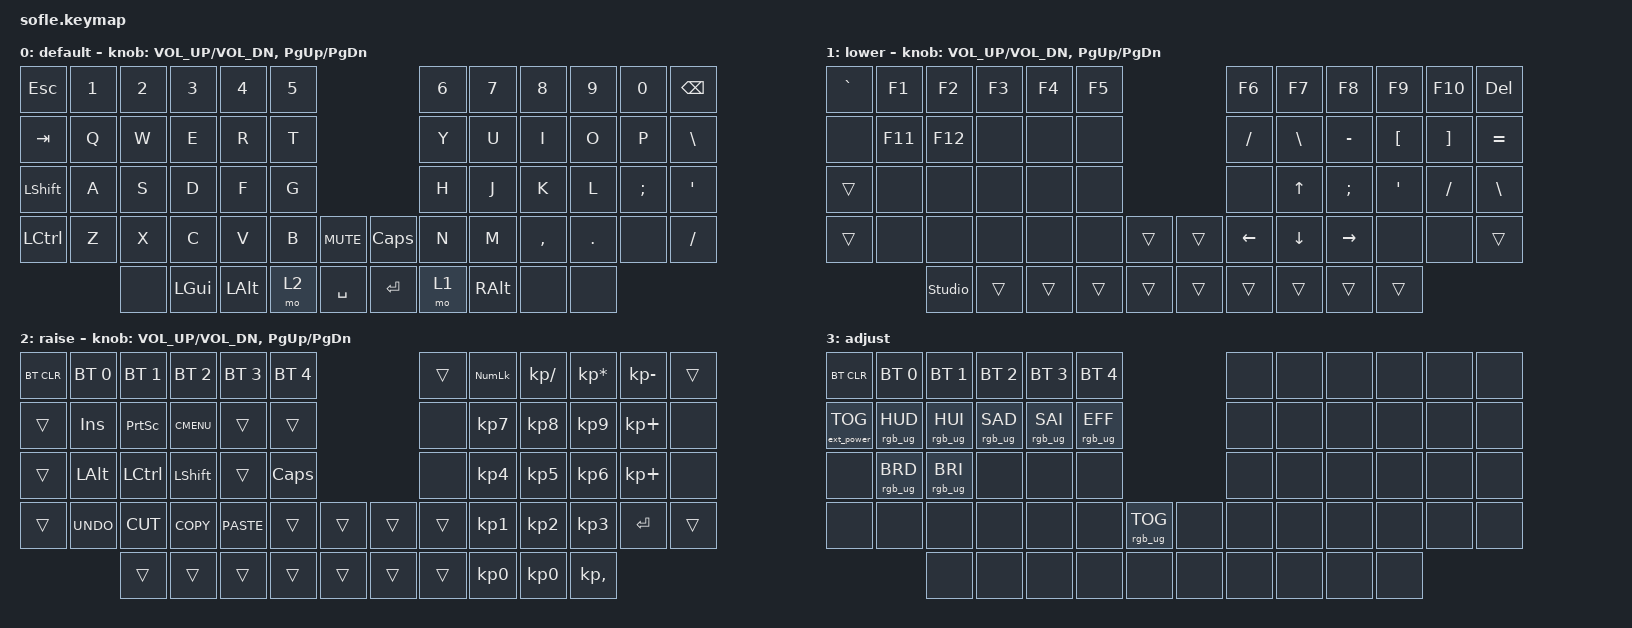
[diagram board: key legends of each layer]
/*
 * Copyright (c) 2020 The ZMK Contributors
 *
 * SPDX-License-Identifier: MIT
 */

#include <behaviors.dtsi>
#include <dt-bindings/zmk/bt.h>
#include <dt-bindings/zmk/ext_power.h>
#include <dt-bindings/zmk/keys.h>
#include <dt-bindings/zmk/rgb.h>

#define BASE 0
#define LOWER 1
#define RAISE 2
#define ADJUST 3

/ {
    // Activate ADJUST layer by pressing raise and lower

    conditional_layers {
        compatible = "zmk,conditional-layers";

        adjust_layer {
            if-layers = <LOWER RAISE>;
            then-layer = <ADJUST>;
        };
    };

    keymap {
        compatible = "zmk,keymap";

        default_layer {
            label = "default";

            // ------------------------------------------------------------------------------------------------------------
            // |   `   |  1  |  2  |  3   |  4   |  5   |                   |  6   |  7    |  8    |  9   |   0   |       |
            // |  ESC  |  Q  |  W  |  E   |  R   |  T   |                   |  Y   |  U    |  I    |  O   |   P   | BKSPC |
            // |  TAB  |  A  |  S  |  D   |  F   |  G   |                   |  H   |  J    |  K    |  L   |   ;   |   '   |
            // | SHIFT |  Z  |  X  |  C   |  V   |  B   |  MUTE  |  |       |  N   |  M    |  ,    |  .   |   /   | SHIFT |
            //               | GUI | ALT  | CTRL | LOWER|  ENTER |  | SPACE | RAISE| CTRL  | ALT   | GUI  |

            bindings = <
&kp ESC         &kp N1  &kp N2  &kp N3        &kp N4        &kp N5                              &kp N6  &kp N7         &kp N8     &kp N9   &kp N0    &kp BSPC
&kp TAB         &kp Q   &kp W   &kp E         &kp R         &kp T                               &kp Y   &kp U          &kp I      &kp O    &kp P     &kp BACKSLASH
&kp LEFT_SHIFT  &kp A   &kp S   &kp D         &kp F         &kp G                               &kp H   &kp J          &kp K      &kp L    &kp SEMI  &kp SQT
&kp LCTRL       &kp Z   &kp X   &kp C         &kp V         &kp B   &kp C_MUTE    &kp CAPSLOCK  &kp N   &kp M          &kp COMMA  &kp DOT  &none     &kp SLASH
                        &none   &kp LEFT_GUI  &kp LEFT_ALT  &mo 2   &kp SPACE     &kp RETURN    &mo 1   &kp RIGHT_ALT  &none      &none
            >;

            sensor-bindings = <&inc_dec_kp C_VOL_UP C_VOL_DN &inc_dec_kp PG_UP PG_DN>;
        };

        lower_layer {
            label = "lower";

            // TODO: Some binds are waiting for shifted keycode support.
            // ------------------------------------------------------------------------------------------------------------
            // |       |  F1 |  F2 |  F3  |  F4  |  F5  |                   |  F6  |  F7   |  F8   |  F9  |  F10  |  F11  |
            // |   `   |  1  |  2  |  3   |  4   |  5   |                   |  6   |  7    |  8    |  9   |   0   |  F12  |
            // |       |  !  |  @  |  #   |  $   |  %   |                   |  ^   |  &    |  *    |  (   |   )   |   |   |
            // |       |  =  |  -  |  +   |  {   |  }   |        |  |       |  [   |  ]    |  ;    |  :   |   \   |       |
            //               |     |      |      |      |        |  |       |      |       |       |      |

            bindings = <
&kp GRAVE  &kp F1   &kp F2          &kp F3  &kp F4  &kp F5                    &kp F6          &kp F7        &kp F8         &kp F9            &kp F10            &kp DEL
&none      &kp F11  &kp F12         &none   &none   &none                     &kp SLASH       &kp BSLH      &kp MINUS      &kp LEFT_BRACKET  &kp RIGHT_BRACKET  &kp EQUAL
&trans     &none    &none           &none   &none   &none                     &none           &kp UP_ARROW  &kp SEMICOLON  &kp APOS          &kp SLASH          &kp BSLH
&trans     &none    &none           &none   &none   &none   &trans    &trans  &kp LEFT_ARROW  &kp DOWN      &kp RIGHT      &none             &none              &trans
                    &studio_unlock  &trans  &trans  &trans  &trans    &trans  &trans          &trans        &trans         &trans
            >;

            sensor-bindings = <&inc_dec_kp C_VOL_UP C_VOL_DN &inc_dec_kp PG_UP PG_DN>;
        };

        raise_layer {
            label = "raise";

            // ------------------------------------------------------------------------------------------------------------
            // | BTCLR | BT1  | BT2  |  BT3  |  BT4  |  BT5 |                |      |      |       |      |       |       |
            // |       | INS  | PSCR | GUI   |       |      |                | PGUP |      |   ^   |      |       |       |
            // |       | ALT  | CTRL | SHIFT |       | CAPS |                | PGDN |   <- |   v   |  ->  |  DEL  | BKSPC |
            // |       | UNDO | CUT  | COPY  | PASTE |      |      |  |      |      |      |       |      |       |       |
            //                |      |       |       |      |      |  |      |      |      |       |      |

            bindings = <
&bt BT_CLR  &bt BT_SEL 0  &bt BT_SEL 1  &bt BT_SEL 2  &bt BT_SEL 3  &bt BT_SEL 4                    &trans  &kp KP_NUMLOCK   &kp KP_SLASH     &kp KP_ASTERISK  &kp KP_SUBTRACT  &trans
&trans      &kp INS       &kp PSCRN     &kp K_CMENU   &trans        &trans                          &none   &kp KP_NUMBER_7  &kp KP_NUMBER_8  &kp KP_NUMBER_9  &kp KP_PLUS      &none
&trans      &kp LALT      &kp LCTRL     &kp LSHFT     &trans        &kp CAPSLOCK                    &none   &kp KP_NUMBER_4  &kp KP_NUMBER_5  &kp KP_NUMBER_6  &kp KP_PLUS      &none
&trans      &kp K_UNDO    &kp K_CUT     &kp K_COPY    &kp K_PASTE   &trans        &trans    &trans  &trans  &kp KP_NUMBER_1  &kp KP_NUMBER_2  &kp KP_NUMBER_3  &kp RET          &trans
                          &trans        &trans        &trans        &trans        &trans    &trans  &trans  &kp KP_NUMBER_0  &kp KP_NUMBER_0  &kp KP_COMMA
            >;

            sensor-bindings = <&inc_dec_kp C_VOL_UP C_VOL_DN &inc_dec_kp PG_UP PG_DN>;
        };

        adjust_layer {
            // ----------------------------------------------------------------------------------------------------------------------------
            // | BTCLR  |  BT1    |  BT2    |   BT3   |   BT4   |   BT5   |                  |      |      |       |      |       |       |
            // | EXTPWR | RGB_HUD | RGB_HUI | RGB_SAD | RGB_SAI | RGB_EFF |                  |      |      |       |      |       |       |
            // |        | RGB_BRD | RGB_BRI |         |         |         |                  |      |      |       |      |       |       |
            // |        |         |         |         |         |         | RGB_TOG | |      |      |      |       |      |       |       |
            //                    |         |         |         |         |         | |      |      |      |       |      |

            label = "adjust";
            bindings = <
&bt BT_CLR         &bt BT_SEL 0     &bt BT_SEL 1     &bt BT_SEL 2     &bt BT_SEL 3     &bt BT_SEL 4                               &none  &none  &none  &none  &none  &none
&ext_power EP_TOG  &rgb_ug RGB_HUD  &rgb_ug RGB_HUI  &rgb_ug RGB_SAD  &rgb_ug RGB_SAI  &rgb_ug RGB_EFF                            &none  &none  &none  &none  &none  &none
&none              &rgb_ug RGB_BRD  &rgb_ug RGB_BRI  &none            &none            &none                                      &none  &none  &none  &none  &none  &none
&none              &none            &none            &none            &none            &none            &rgb_ug RGB_TOG    &none  &none  &none  &none  &none  &none  &none
                                    &none            &none            &none            &none            &none              &none  &none  &none  &none  &none
            >;
        };
    };
};
